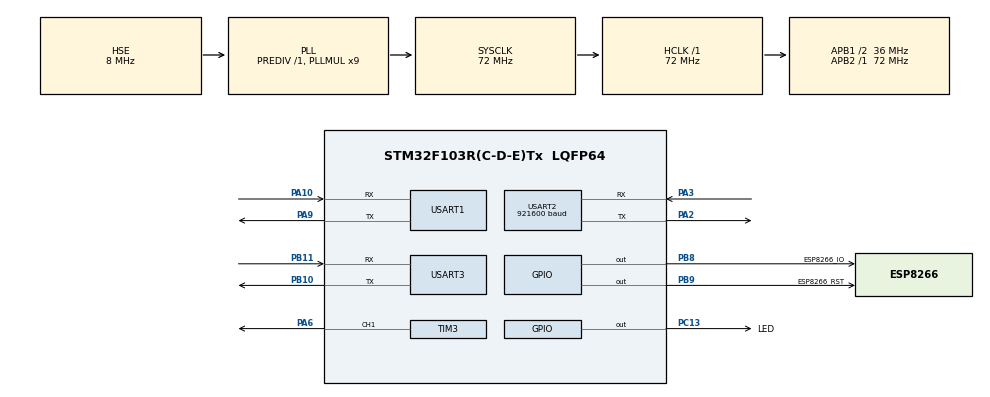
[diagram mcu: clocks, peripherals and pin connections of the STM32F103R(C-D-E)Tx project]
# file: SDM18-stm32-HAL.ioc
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Dma.Request0=USART3_RX
Dma.USART3_RX.0.Direction=DMA_PERIPH_TO_MEMORY
Dma.USART3_RX.0.Instance=DMA1_Channel3
Dma.USART3_RX.0.MemDataAlignment=DMA_MDATAALIGN_BYTE
Dma.USART3_RX.0.MemInc=DMA_MINC_ENABLE
Dma.USART3_RX.0.Mode=DMA_NORMAL
Dma.USART3_RX.0.PeriphDataAlignment=DMA_PDATAALIGN_BYTE
Dma.USART3_RX.0.PeriphInc=DMA_PINC_DISABLE
Dma.USART3_RX.0.Priority=DMA_PRIORITY_LOW
Mcu.Family=STM32F1
Mcu.Name=STM32F103R(C-D-E)Tx
Mcu.Package=LQFP64
NVIC.DMA1_Channel3_IRQn=true\:0\:0\:false\:false\:true\:false\:true\:true
NVIC.PriorityGroup=NVIC_PRIORITYGROUP_2
NVIC.USART2_IRQn=true\:1\:0\:true\:false\:true\:true\:true\:true
NVIC.USART3_IRQn=true\:1\:0\:true\:false\:true\:true\:true\:true
PA10.Mode=Asynchronous
PA10.Signal=USART1_RX
PA13.Mode=Serial_Wire
PA13.Signal=SYS_JTMS-SWDIO
PA14.Mode=Serial_Wire
PA14.Signal=SYS_JTCK-SWCLK
PA2.Mode=Asynchronous
PA2.Signal=USART2_TX
PA3.Mode=Asynchronous
PA3.Signal=USART2_RX
PA6.Signal=S_TIM3_CH1
PA9.Mode=Asynchronous
PA9.Signal=USART1_TX
PB10.Mode=Asynchronous
PB10.Signal=USART3_TX
PB11.Mode=Asynchronous
PB11.Signal=USART3_RX
PB8.GPIO_Label=ESP8266_IO
PB8.PinState=GPIO_PIN_SET
PB8.Signal=GPIO_Output
PB9.GPIO_Label=ESP8266_RST
PB9.PinState=GPIO_PIN_SET
PB9.Signal=GPIO_Output
PC13-TAMPER-RTC.GPIO_Label=LED
PC13-TAMPER-RTC.GPIO_Speed=GPIO_SPEED_FREQ_MEDIUM
PC13-TAMPER-RTC.PinState=GPIO_PIN_SET
PC13-TAMPER-RTC.Signal=GPIO_Output
PD0-OSC_IN.Mode=HSE-External-Oscillator
PD0-OSC_IN.Signal=RCC_OSC_IN
PD1-OSC_OUT.Mode=HSE-External-Oscillator
PD1-OSC_OUT.Signal=RCC_OSC_OUT
ProjectManager.HeapSize=0x200
ProjectManager.StackSize=0x400
ProjectManager.TargetToolchain=MDK-ARM V5.32
RCC.AHBFreq_Value=72000000
RCC.APB1CLKDivider=RCC_HCLK_DIV2
RCC.APB1Freq_Value=36000000
RCC.APB1TimFreq_Value=72000000
RCC.APB2Freq_Value=72000000
RCC.APB2TimFreq_Value=72000000
RCC.HCLKFreq_Value=72000000
RCC.PLLMUL=RCC_PLL_MUL9
RCC.PLLSourceVirtual=RCC_PLLSOURCE_HSE
RCC.SYSCLKFreq_VALUE=72000000
RCC.SYSCLKSource=RCC_SYSCLKSOURCE_PLLCLK
RCC.USBFreq_Value=72000000
SH.S_TIM3_CH1.0=TIM3_CH1,PWM Generation1 CH1
TIM3.AutoReloadPreload=TIM_AUTORELOAD_PRELOAD_ENABLE
TIM3.Channel-PWM\ Generation1\ CH1=TIM_CHANNEL_1
TIM3.Period=500
TIM3.Prescaler=71
TIM3.Pulse-PWM\ Generation1\ CH1=250
USART1.VirtualMode=VM_ASYNC
USART2.BaudRate=921600
USART2.VirtualMode=VM_ASYNC
USART3.VirtualMode=VM_ASYNC
board=custom

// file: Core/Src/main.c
/* USER CODE BEGIN Header */
/**
  ******************************************************************************
  * @file           : main.c
  * @brief          : 新型钻具机构控制系统
  *                   - 激光雷达测距控制内管升降
  *                   - 内管到位400mm停止
  *                   - 到位后才开始卡芯/满芯判断
  *                   - 卡芯/满芯时反转上提到800mm
  *                   - WiFi无线数据传输（ESP8266）- 只连接一次
  ******************************************************************************
  */
/* USER CODE END Header */
#include "main.h"
#include "dma.h"
#include "tim.h"
#include "usart.h"
#include "gpio.h"

/* USER CODE BEGIN Includes */
#include <stdbool.h>
#include <stdio.h>
#include <string.h>
/* USER CODE END Includes */

/* USER CODE BEGIN PD */
// 电机引脚定义
#define MOTOR_EN_PIN   GPIO_PIN_5      // 使能引脚
#define MOTOR_STP_PIN  GPIO_PIN_6      // 脉冲引脚
#define MOTOR_DIR_PIN  GPIO_PIN_7      // 方向引脚
#define MOTOR_PORT     GPIOA

// 钻具工作模式
#define MODE_IDLE       0    // 空闲
#define MODE_DOWN       1    // 正转下钻
#define MODE_UP         2    // 反转上提
#define MODE_PAUSE      3    // 暂停

// 距离阈值定义（单位：mm）
#define THRESHOLD_GROUND    800     // 地面上阈值（内管在顶部）
#define THRESHOLD_IN_PLACE  400     // 内管到位阈值（到此停止）
#define THRESHOLD_FULL      100     // 满芯阈值（小于100mm为满）
#define THRESHOLD_STUCK     2       // 卡芯判断差值（2mm以内为卡）

// 数组大小定义
#define DIST_ARRAY_SIZE     10      // 10个相邻测距的数组

// 时间定义（单位：ms）
#define MEASURE_INTERVAL        100     // 100ms测一次距离
#define PAUSE_TIME_IN_PLACE     5000    // 内管到位暂停时间（5秒）
#define PAUSE_TIME_CORE         3000    // 卡芯/满芯暂停时间（3秒）

// ==================== WiFi配置 ====================
// 接线：PB10->RXD, PB11->TXD, PB9->RST, PB8->IO(悬空)
#define WIFI_UART_HANDLE      &huart3      // USART3连接WiFi
#define WIFI_RST_PIN          GPIO_PIN_9   // WiFi复位引脚（PB9）
#define WIFI_RST_PORT         GPIOB
#define WIFI_IO_PIN           GPIO_PIN_8   // IO引脚（PB8），悬空即可

// WiFi连接参数（已配置好）
#define WIFI_SSID             "632"                // WiFi名称
#define WIFI_PASSWORD         "2022031004632"      // WiFi密码
#define SERVER_IP             "192.168.1.105"      // 电脑IP
#define SERVER_PORT           "8080"               // 端口号
/* USER CODE END PD */

/* USER CODE BEGIN PV */
// 电机控制变量
__IO int32_t pulse_count = 0;           // 脉冲计数
__IO uint8_t motor_status = MODE_IDLE;   // 电机当前状态
__IO uint32_t last_pulse_tick = 0;       // 上次脉冲时间

// 钻具控制变量
__IO uint8_t drill_mode = MODE_IDLE;     // 钻具工作模式
__IO uint32_t pause_start_time = 0;      // 暂停开始时间
__IO uint8_t pause_trigger_reason = 0;   // 暂停原因：1-卡芯 2-满芯

// 重要：标记当前是否在反转上提阶段
__IO uint8_t is_reversing = 0;           // 0-不是反转 1-正在反转上提

// 到位标记：表示已经到达400mm，开始卡芯/满芯判断
__IO uint8_t is_in_place = 0;            // 0-未到位 1-已到位

// 测距数组（用于卡芯和满芯判断）
__IO uint16_t dist_array[DIST_ARRAY_SIZE] = {0};  // 存储10个距离值
__IO uint8_t dist_array_index = 0;                 // 数组当前索引
__IO uint8_t dist_array_full = 0;                   // 数组是否已填满

// 传感器距离（从sdm18.c获取）
extern uint16_t gSDM18_Distance;

// WiFi连接标志（只尝试连接一次）
__IO uint8_t wifi_connected = 0;
__IO uint8_t wifi_attempted = 0;  // 是否已尝试连接过
/* USER CODE END PV */

void SystemClock_Config(void);
/* USER CODE BEGIN PFP */
// 函数声明
void Motor_GPIO_Init(void);
void Motor_Set_Direction(uint8_t dir);
void Motor_Generate_Pulse(void);
void Drill_Control(uint16_t dist);
void Update_Distance_Array(uint16_t dist);
uint8_t Check_Stuck(void);
uint8_t Check_Full(void);
void Print_Status(uint16_t dist);

// WiFi相关函数声明
void WiFi_GPIO_Init(void);
void WiFi_Reset(void);
uint8_t WiFi_SendAT(const char* cmd, const char* expected, uint32_t timeout);
void WiFi_Connect(void);
void WiFi_SendData(uint8_t* data, uint16_t len);
void WiFi_SendStatus(uint16_t dist, uint8_t mode, uint8_t in_place, uint8_t reversing,
                      uint16_t avg, uint16_t diff);
/* USER CODE END PFP */

int main(void)
{

  /* MCU Configuration--------------------------------------------------------*/

  /* Reset of all peripherals, Initializes the Flash interface and the Systick. */
  HAL_Init();

  /* Configure the system clock */
  SystemClock_Config();

  /* Initialize all configured peripherals */
  MX_GPIO_Init();
  MX_DMA_Init();
  MX_USART1_UART_Init();
  MX_USART2_UART_Init();
  MX_TIM3_Init();
  MX_USART3_UART_Init();
  /* USER CODE BEGIN 2 */
  BSP_init();  // 传感器初始化

  // 电机GPIO初始化
  Motor_GPIO_Init();

  // WiFi模块引脚初始化
  WiFi_GPIO_Init();

  // 复位WiFi模块
  WiFi_Reset();
  HAL_Delay(1000);

  // 尝试连接WiFi（只尝试一次）
  printf("\r\n尝试连接WiFi...\r\n");
  WiFi_Connect();
  wifi_attempted = 1;

  if(wifi_connected)
  {
      printf("WiFi连接成功，数据将无线传输\r\n");
  }
  else
  {
      printf("WiFi连接失败，系统将独立运行（如需WiFi请按复位键）\r\n");
  }

  // 清空距离数组
  memset((void*)dist_array, 0, sizeof(dist_array));

  printf("\r\n====================================\r\n");
  printf("新型钻具机构控制系统启动\r\n");
  if(wifi_connected)
  {
      printf("WiFi模式：已连接 %s:%s\r\n", SERVER_IP, SERVER_PORT);
  }
  else
  {
      printf("WiFi模式：未连接（独立运行）\r\n");
  }
  printf("阈值设置：到位=400mm(停止) 满芯=<100mm 卡芯差值<2mm\r\n");
  printf("地面阈值：800mm(反转停止)\r\n");
  printf("测距间隔：100ms\r\n");
  printf("暂停时间：内管到位=%dms 卡芯/满芯=%dms\r\n", PAUSE_TIME_IN_PLACE, PAUSE_TIME_CORE);
  printf("====================================\r\n\r\n");
  /* USER CODE END 2 */

  /* Infinite loop */
  /* USER CODE BEGIN WHILE */
  while (1)
  {
    BSP_Loop();  // 处理传感器数据（会更新gSDM18_Distance）

    // 产生电机脉冲
    Motor_Generate_Pulse();

    // 每100ms执行一次控制逻辑
    static uint32_t last_control = 0;
    if(HAL_GetTick() - last_control >= MEASURE_INTERVAL)
    {
        last_control = HAL_GetTick();

        // 获取当前距离值
        uint16_t current_dist = gSDM18_Distance;

        // 更新距离数组（用于卡芯和满芯判断）
        Update_Distance_Array(current_dist);

        // 执行钻具控制逻辑
        Drill_Control(current_dist);

        // 串口打印状态（同时通过WiFi发送）
        Print_Status(current_dist);
    }

    /* USER CODE END WHILE */

  }
}

void SystemClock_Config(void)
{
  RCC_OscInitTypeDef RCC_OscInitStruct = {0};
  RCC_ClkInitTypeDef RCC_ClkInitStruct = {0};

  /** Initializes the RCC Oscillators according to the specified parameters
  * in the RCC_OscInitTypeDef structure.
  */
  RCC_OscInitStruct.OscillatorType = RCC_OSCILLATORTYPE_HSE;
  RCC_OscInitStruct.HSEState = RCC_HSE_ON;
  RCC_OscInitStruct.HSEPredivValue = RCC_HSE_PREDIV_DIV1;
  RCC_OscInitStruct.HSIState = RCC_HSI_ON;
  RCC_OscInitStruct.PLL.PLLState = RCC_PLL_ON;
  RCC_OscInitStruct.PLL.PLLSource = RCC_PLLSOURCE_HSE;
  RCC_OscInitStruct.PLL.PLLMUL = RCC_PLL_MUL9;
  if (HAL_RCC_OscConfig(&RCC_OscInitStruct) != HAL_OK)
  {
    Error_Handler();
  }

  /** Initializes the CPU, AHB and APB buses clocks
  */
  RCC_ClkInitStruct.ClockType = RCC_CLOCKTYPE_HCLK|RCC_CLOCKTYPE_SYSCLK
                              |RCC_CLOCKTYPE_PCLK1|RCC_CLOCKTYPE_PCLK2;
  RCC_ClkInitStruct.SYSCLKSource = RCC_SYSCLKSOURCE_PLLCLK;
  RCC_ClkInitStruct.AHBCLKDivider = RCC_SYSCLK_DIV1;
  RCC_ClkInitStruct.APB1CLKDivider = RCC_HCLK_DIV2;
  RCC_ClkInitStruct.APB2CLKDivider = RCC_HCLK_DIV1;

  if (HAL_RCC_ClockConfig(&RCC_ClkInitStruct, FLASH_LATENCY_2) != HAL_OK)
  {
    Error_Handler();
  }
}

/* USER CODE BEGIN 4 */

/**
  * @brief 电机GPIO初始化
  */
void Motor_GPIO_Init(void)
{
    __HAL_RCC_GPIOA_CLK_ENABLE();

    GPIO_InitTypeDef GPIO_InitStruct = {0};

    // PA5、PA6和PA7作为普通推挽输出
    GPIO_InitStruct.Pin = MOTOR_EN_PIN | MOTOR_STP_PIN | MOTOR_DIR_PIN;
    GPIO_InitStruct.Mode = GPIO_MODE_OUTPUT_PP;
    GPIO_InitStruct.Pull = GPIO_NOPULL;
    GPIO_InitStruct.Speed = GPIO_SPEED_FREQ_LOW;
    HAL_GPIO_Init(MOTOR_PORT, &GPIO_InitStruct);

    // 初始状态
    HAL_GPIO_WritePin(MOTOR_PORT, MOTOR_EN_PIN, GPIO_PIN_SET);   // 使能
    HAL_GPIO_WritePin(MOTOR_PORT, MOTOR_STP_PIN, GPIO_PIN_RESET); // 脉冲低
    HAL_GPIO_WritePin(MOTOR_PORT, MOTOR_DIR_PIN, GPIO_PIN_RESET); // 方向默认
}

/**
  * @brief 设置电机方向
  * @param dir: MODE_DOWN-下钻(正转)  MODE_UP-上提(反转)
  */
void Motor_Set_Direction(uint8_t dir)
{
    if(dir == MODE_DOWN)
    {
        HAL_GPIO_WritePin(MOTOR_PORT, MOTOR_DIR_PIN, GPIO_PIN_SET);   // 正转下钻
    }
    else if(dir == MODE_UP)
    {
        HAL_GPIO_WritePin(MOTOR_PORT, MOTOR_DIR_PIN, GPIO_PIN_RESET); // 反转上提
    }
}

/**
  * @brief 产生电机脉冲
  */
void Motor_Generate_Pulse(void)
{
    // 只有下钻或上提模式才发脉冲
    if(motor_status != MODE_DOWN && motor_status != MODE_UP)
        return;

    // 使用简单的空循环实现微秒级延时
    // 调整这个数值可以改变电机速度：减小变快，增大变慢
    for(volatile int i = 0; i < 1000; i++)
    {
        __NOP();  // 空操作
    }

    // 翻转脉冲引脚
    HAL_GPIO_TogglePin(MOTOR_PORT, MOTOR_STP_PIN);
    pulse_count++;
}

/**
  * @brief 更新距离数组（环形缓冲区）
  * @param dist: 当前距离值
  */
void Update_Distance_Array(uint16_t dist)
{
    // 将新距离存入数组当前位置
    dist_array[dist_array_index] = dist;

    // 更新索引（循环0-9）
    dist_array_index++;
    if(dist_array_index >= DIST_ARRAY_SIZE)
    {
        dist_array_index = 0;
        dist_array_full = 1;  // 标记数组已填满一次
    }
}

/**
  * @brief 检查是否卡芯
  * @retval 1-卡芯  0-正常
  */
uint8_t Check_Stuck(void)
{
    // 如果数组还没填满，无法判断
    if(!dist_array_full)
        return 0;

    // 找出数组中的最大值和最小值
    uint16_t max_dist = 0;
    uint16_t min_dist = 65535;

    for(int i = 0; i < DIST_ARRAY_SIZE; i++)
    {
        if(dist_array[i] > max_dist)
            max_dist = dist_array[i];
        if(dist_array[i] < min_dist)
            min_dist = dist_array[i];
    }

    // 计算差值
    uint16_t diff = max_dist - min_dist;

    // 如果差值小于阈值，说明距离变化很小 → 可能卡芯
    if(diff < THRESHOLD_STUCK)
    {
        return 1;
    }

    return 0;
}

/**
  * @brief 检查是否满芯
  * @retval 1-满芯  0-未满
  */
uint8_t Check_Full(void)
{
    // 如果数组还没填满，无法判断
    if(!dist_array_full)
        return 0;

    // 检查是否所有距离都小于满芯阈值
    for(int i = 0; i < DIST_ARRAY_SIZE; i++)
    {
        if(dist_array[i] >= THRESHOLD_FULL)
            return 0;  // 有一个大于等于阈值就不算满
    }

    return 1;
}

/**
  * @brief 钻具控制主逻辑（带醒目提示）
  * @param dist: 当前距离值(mm)
  */
void Drill_Control(uint16_t dist)
{
    // 如果距离为0（还没收到有效数据），不动作
    if(dist == 0) return;

    /********** 第一步：处理暂停状态 **********/
    if(drill_mode == MODE_PAUSE)
    {
        // 检查是否到达暂停时间（卡芯/满芯用 PAUSE_TIME_CORE）
        if(HAL_GetTick() - pause_start_time >= PAUSE_TIME_CORE)
        {
            // 暂停结束，开始反转上提
            drill_mode = MODE_UP;
            motor_status = MODE_UP;
            is_reversing = 1;  // 标记为反转阶段
            is_in_place = 0;    // 离开到位状态
            Motor_Set_Direction(MODE_UP);
            printf("⬆️ 暂停结束，反转上提（目标800mm）\r\n");
            // 通过WiFi发送醒目提示
            WiFi_SendData((uint8_t*)"!!! ACTION: REVERSING START !!!\r\n", 35);
        }
        return;  // 暂停中不执行其他判断
    }

    /********** 第二步：检查是否在地面阈值（最高优先级） **********/
    if(dist >= THRESHOLD_GROUND)
    {
        // 到达地面阈值，无论什么状态都停止
        if(drill_mode != MODE_IDLE || is_reversing != 0)
        {
            drill_mode = MODE_IDLE;
            motor_status = MODE_IDLE;
            is_reversing = 0;  // 清除反转标记
            is_in_place = 0;    // 清除到位标记
            printf("🏁 到达地面阈值 %dmm，停止\r\n", THRESHOLD_GROUND);
            printf("----------------------------------------\r\n");
            // 通过WiFi发送醒目提示
            WiFi_SendData((uint8_t*)"!!! STATUS: AT GROUND !!!\r\n", 29);
        }
        return;
    }

    /********** 第三步：如果正在反转阶段，继续反转直到地面 **********/
    if(is_reversing == 1)
    {
        // 反转阶段只关心是否到达地面阈值（上面已判断）
        // 没到地面就继续反转
        if(drill_mode != MODE_UP)
        {
            drill_mode = MODE_UP;
            motor_status = MODE_UP;
            Motor_Set_Direction(MODE_UP);
        }
        return;  // 直接返回，不执行到位判断
    }

    /********** 第四步：判断是否到位（<=400mm） **********/
    if(dist <= THRESHOLD_IN_PLACE)
    {
        // 内管到位，停止电机
        if(drill_mode != MODE_IDLE)
        {
            drill_mode = MODE_IDLE;
            motor_status = MODE_IDLE;
            printf("⏹️ 内管到位 %dmm，停止\r\n", dist);
            // 通过WiFi发送醒目提示
            char alert[64];
            sprintf(alert, "*** STATUS: IN_PLACE (dist=%dmm) ***\r\n", dist);
            WiFi_SendData((uint8_t*)alert, strlen(alert));
        }

        // 标记为到位状态
        if(is_in_place == 0)
        {
            is_in_place = 1;
            printf("🔍 开始卡芯/满芯监测...\r\n");

            // 内管到位后暂停（用 PAUSE_TIME_IN_PLACE）
            uint32_t pause_start = HAL_GetTick();
            while(HAL_GetTick() - pause_start < PAUSE_TIME_IN_PLACE)
            {
                HAL_Delay(10);
            }
        }

        /********** 第五步：到位后才进行卡芯/满芯判断 **********/
        if(is_in_place == 1)
        {
            // 检查满芯
            if(Check_Full())
            {
                drill_mode = MODE_PAUSE;
                motor_status = MODE_IDLE;
                pause_start_time = HAL_GetTick();
                pause_trigger_reason = 2;
                printf("⏸️ 满芯！暂停3秒后反转上提\r\n");
                // 通过WiFi发送醒目提示（带感叹号）
                WiFi_SendData((uint8_t*)"!!! ALERT: CORE FULL !!!\r\n", 28);
                return;
            }

            // 检查卡芯
            if(Check_Stuck())
            {
                drill_mode = MODE_PAUSE;
                motor_status = MODE_IDLE;
                pause_start_time = HAL_GetTick();
                pause_trigger_reason = 1;
                printf("⚠️ 卡芯！暂停3秒后反转上提\r\n");
                // 通过WiFi发送醒目提示（带感叹号）
                WiFi_SendData((uint8_t*)"!!! ALERT: CORE STUCK !!!\r\n", 28);
                return;
            }
        }

        return;  // 到位且无异常，保持停止
    }

    /********** 第六步：距离>400mm，还没到位 **********/
    if(dist > THRESHOLD_IN_PLACE)
    {
        // 还没到位，正常下钻
        if(drill_mode != MODE_DOWN)
        {
            drill_mode = MODE_DOWN;
            motor_status = MODE_DOWN;
            is_in_place = 0;  // 清除到位标记
            Motor_Set_Direction(MODE_DOWN);
            printf("⬇️ 距离=%dmm > 400mm，正转下钻\r\n", dist);
        }
    }
}

// ==================== WiFi模块相关函数 ====================

/**
  * @brief WiFi模块引脚初始化
  */
void WiFi_GPIO_Init(void)
{
    GPIO_InitTypeDef GPIO_InitStruct = {0};

    // 使能GPIOB时钟
    __HAL_RCC_GPIOB_CLK_ENABLE();

    // 配置PB9为复位输出（推挽）
    GPIO_InitStruct.Pin = WIFI_RST_PIN;
    GPIO_InitStruct.Mode = GPIO_MODE_OUTPUT_PP;
    GPIO_InitStruct.Pull = GPIO_NOPULL;
    GPIO_InitStruct.Speed = GPIO_SPEED_FREQ_LOW;
    HAL_GPIO_Init(WIFI_RST_PORT, &GPIO_InitStruct);

    // PB8配置为悬空输入（不控制）
    GPIO_InitStruct.Pin = WIFI_IO_PIN;
    GPIO_InitStruct.Mode = GPIO_MODE_INPUT;
    GPIO_InitStruct.Pull = GPIO_NOPULL;
    HAL_GPIO_Init(WIFI_RST_PORT, &GPIO_InitStruct);

    printf("WiFi引脚初始化完成\r\n");
}

/**
  * @brief 复位WiFi模块
  */
void WiFi_Reset(void)
{
    HAL_GPIO_WritePin(WIFI_RST_PORT, WIFI_RST_PIN, GPIO_PIN_RESET);
    HAL_Delay(100);
    HAL_GPIO_WritePin(WIFI_RST_PORT, WIFI_RST_PIN, GPIO_PIN_SET);
    HAL_Delay(2000);
    printf("WiFi模块已复位\r\n");
}

/**
  * @brief 发送AT指令到WiFi模块并等待响应
  * @param cmd: AT指令字符串（不包含\r\n）
  * @param expected: 期望的响应
  * @param timeout: 超时时间(ms)
  * @retval 1-成功 0-失败
  */
uint8_t WiFi_SendAT(const char* cmd, const char* expected, uint32_t timeout)
{
    uint8_t buffer[128];
    uint32_t start = HAL_GetTick();
    uint16_t index = 0;

    // 发送指令（加\r\n）
    HAL_UART_Transmit(WIFI_UART_HANDLE, (uint8_t*)cmd, strlen(cmd), 100);
    HAL_UART_Transmit(WIFI_UART_HANDLE, (uint8_t*)"\r\n", 2, 100);

    // 等待响应
    while(HAL_GetTick() - start < timeout)
    {
        if(HAL_UART_Receive(WIFI_UART_HANDLE, &buffer[index], 1, 50) == HAL_OK)
        {
            if(index < sizeof(buffer)-1)
            {
                index++;
                buffer[index] = 0;
                if(strstr((char*)buffer, expected) != NULL)
                {
                    return 1;
                }
            }
        }
    }
    return 0;
}

/**
  * @brief 配置WiFi模块连接网络（只尝试一次）
  */
void WiFi_Connect(void)
{
    char cmd[128];

    printf("\r\n========== WiFi配置开始 ==========\r\n");

    // 1. 测试AT
    printf("测试AT指令...\r\n");
    if(!WiFi_SendAT("AT", "OK", 2000))
    {
        printf("WiFi模块无响应\r\n");
        wifi_connected = 0;
        return;
    }
    printf("✓ AT指令正常\r\n");
    HAL_Delay(500);

    // 2. 设置STA模式
    printf("设置STA模式...\r\n");
    WiFi_SendAT("AT+CWMODE=1", "OK", 2000);
    HAL_Delay(500);

    // 3. 连接WiFi
    printf("连接WiFi: %s...\r\n", WIFI_SSID);
    sprintf(cmd, "AT+CWJAP=\"%s\",\"%s\"", WIFI_SSID, WIFI_PASSWORD);
    if(!WiFi_SendAT(cmd, "OK", 10000))
    {
        printf("✗ WiFi连接失败\r\n");
        wifi_connected = 0;
        return;
    }
    printf("✓ WiFi连接成功\r\n");
    HAL_Delay(2000);

    // 4. 连接TCP服务器
    printf("连接TCP服务器 %s:%s...\r\n", SERVER_IP, SERVER_PORT);
    sprintf(cmd, "AT+CIPSTART=\"TCP\",\"%s\",%s", SERVER_IP, SERVER_PORT);
    if(!WiFi_SendAT(cmd, "CONNECT", 5000))
    {
        printf("✗ TCP连接失败\r\n");
        wifi_connected = 0;
        return;
    }
    printf("✓ TCP连接成功\r\n");
    HAL_Delay(500);

    // 5. 开启透传模式
    printf("开启透传模式...\r\n");
    WiFi_SendAT("AT+CIPMODE=1", "OK", 2000);
    HAL_Delay(500);

    // 6. 进入透传
    printf("进入透传模式...\r\n");
    WiFi_SendAT("AT+CIPSEND", ">", 2000);
    printf("✓ WiFi透传模式已开启\r\n");
    printf("====================================\r\n\r\n");

    wifi_connected = 1;
}

/**
  * @brief 通过WiFi发送数据（透传模式）
  */
void WiFi_SendData(uint8_t* data, uint16_t len)
{
    if(wifi_connected)
    {
        HAL_UART_Transmit(WIFI_UART_HANDLE, data, len, 100);
    }
}

/**
  * @brief 发送状态数据（格式化，用于WiFi传输）
  */
void WiFi_SendStatus(uint16_t dist, uint8_t mode, uint8_t in_place, uint8_t reversing,
                      uint16_t avg, uint16_t diff)
{
    char buffer[256];
    char *mode_str = "";
    char *status_str = "";

    switch(mode)
    {
        case MODE_IDLE:   mode_str = "IDLE"; break;
        case MODE_DOWN:   mode_str = "DOWN"; break;
        case MODE_UP:     mode_str = "UP"; break;
        case MODE_PAUSE:  mode_str = "PAUSE"; break;
        default:          mode_str = "UNKNOWN"; break;
    }

    if(in_place == 1)
    {
        status_str = "IN_PLACE";
    }
    else if(reversing == 1)
    {
        status_str = "REVERSING";
    }
    else if(mode == MODE_DOWN)
    {
        status_str = "DRILLING";
    }
    else if(mode == MODE_IDLE)
    {
        status_str = "WAITING";
    }
    else if(mode == MODE_PAUSE)
    {
        status_str = "PAUSING";
    }
    else
    {
        status_str = "NORMAL";
    }

    sprintf(buffer, "[%d] DIST=%dmm MODE=%s STATUS=%s PLACE=%d REV=%d AVG=%dmm DIFF=%d\r\n",
            (int)(HAL_GetTick()/1000), dist, mode_str, status_str, in_place, reversing, avg, diff);

    WiFi_SendData((uint8_t*)buffer, strlen(buffer));
}

/**
  * @brief 串口打印状态信息（同时通过WiFi发送）
  */
void Print_Status(uint16_t dist)
{
    static uint32_t last_print = 0;

    if(HAL_GetTick() - last_print >= MEASURE_INTERVAL)
    {
        last_print = HAL_GetTick();

        uint16_t max_d = 0, min_d = 65535;
        uint32_t sum_d = 0;
        uint16_t avg_d = 0;

        for(int i = 0; i < DIST_ARRAY_SIZE; i++)
        {
            if(dist_array[i] > max_d) max_d = dist_array[i];
            if(dist_array[i] < min_d) min_d = dist_array[i];
            sum_d += dist_array[i];
        }

        if(dist_array_full)
            avg_d = sum_d / DIST_ARRAY_SIZE;
        else
            avg_d = 0;

        char *mode_str = "";
        switch(drill_mode)
        {
            case MODE_IDLE:   mode_str = "空闲"; break;
            case MODE_DOWN:   mode_str = "下钻"; break;
            case MODE_UP:     mode_str = "上提"; break;
            case MODE_PAUSE:  mode_str = "暂停"; break;
        }

        printf("[%03d] dist=%4dmm | %s |到位=%d|rev=%d| avg=%3dmm| diff=%2dmm\r\n",
               (HAL_GetTick()/1000)%1000, dist, mode_str, is_in_place,
               is_reversing, avg_d, max_d - min_d);

        WiFi_SendStatus(dist, drill_mode, is_in_place, is_reversing, avg_d, max_d - min_d);
    }
}
/* USER CODE END 4 */

void Error_Handler(void)
{
  __disable_irq();
  while (1)
  {
  }
}
